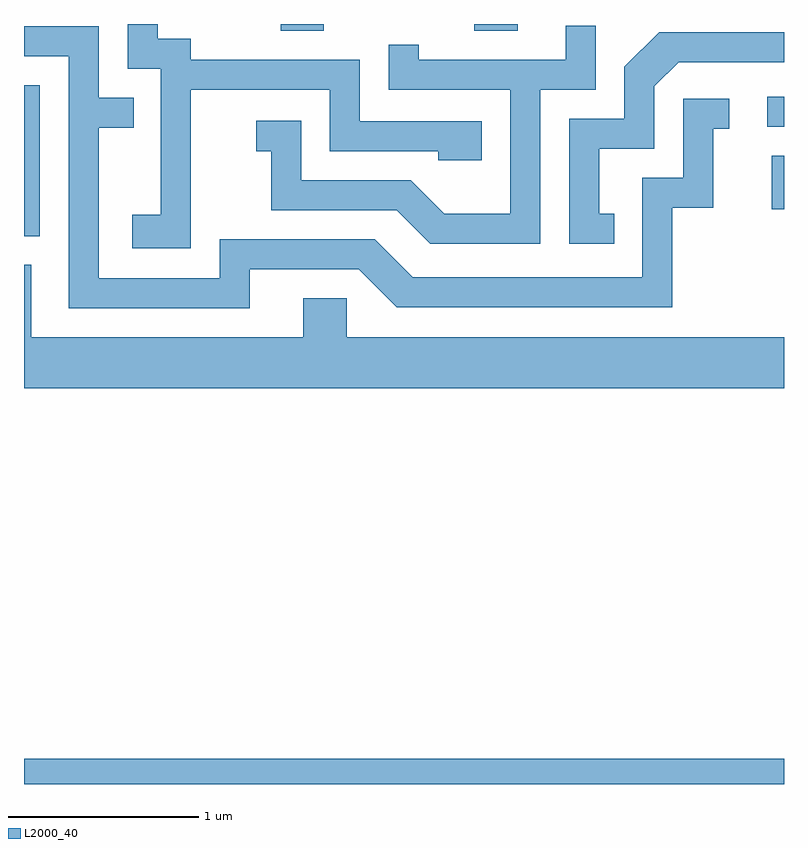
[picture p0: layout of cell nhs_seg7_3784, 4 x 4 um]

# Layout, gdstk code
import gdstk
lib = gdstk.Library(unit=1e-6, precision=1e-09)
def R(c, l, rs):  # rectangles x0, y0, x1, y1
    for r in rs: c.add(gdstk.rectangle(r[:2], r[2:], *l))
def P(c, l, *ps):  # polygons
    for p in ps: c.add(gdstk.Polygon(p, *l))
L2000_40 = (2000, 40)

nhs_seg7_3784 = lib.new_cell('nhs_seg7_3784')
R(nhs_seg7_3784, L2000_40, [(301.611,1692.252,305.611,1692.384), (301.611,1695.136,301.694,1695.929), (305.546,1695.276,305.611,1695.559), (305.523,1695.711,305.611,1695.869), (302.961,1696.216,303.189,1696.252), (303.981,1696.216,304.209,1696.252)])
P(nhs_seg7_3784, L2000_40, [(302.489,1695.906),(303.221,1695.906),(303.221,1695.581),(303.791,1695.581),(303.791,1695.536),(304.019,1695.536),(304.019,1695.739),(303.379,1695.739),(303.379,1696.064),(302.489,1696.064),(302.489,1696.174),(302.314,1696.174),(302.314,1696.252),(302.156,1696.252),(302.156,1696.016),(302.331,1696.016),(302.331,1695.249),(302.181,1695.249),(302.181,1695.071),(302.489,1695.071)],
  [(304.329,1695.906),(304.619,1695.906),(304.619,1696.243),(304.461,1696.243),(304.461,1696.064),(303.689,1696.064),(303.689,1696.143),(303.531,1696.143),(303.531,1695.906),(304.171,1695.906),(304.171,1695.254),(303.822,1695.254),(303.647,1695.429),(303.069,1695.429),(303.069,1695.744),(302.833,1695.744),(302.833,1695.581),(302.911,1695.581),(302.911,1695.271),(303.574,1695.271),(303.749,1695.096),(304.329,1695.096)],
  [(302.799,1694.961),(303.374,1694.961),(303.574,1694.761),(305.024,1694.761),(305.024,1695.286),(305.239,1695.286),(305.239,1695.701),(305.323,1695.701),(305.323,1695.859),(305.081,1695.859),(305.081,1695.444),(304.866,1695.444),(304.866,1694.919),(303.657,1694.919),(303.457,1695.119),(302.641,1695.119),(302.641,1694.914),(302.004,1694.914),(302.004,1695.706),(302.188,1695.706),(302.188,1695.864),(302.004,1695.864),(302.004,1696.239),(301.611,1696.239),(301.611,1696.081),(301.846,1696.081),(301.846,1694.756),(302.799,1694.756)],
  [(304.718,1695.254),(304.639,1695.254),(304.639,1695.596),(304.929,1695.596),(304.929,1695.924),(305.057,1696.051),(305.611,1696.051),(305.611,1696.209),(304.954,1696.209),(304.771,1696.027),(304.771,1695.754),(304.481,1695.754),(304.481,1695.096),(304.718,1695.096)],
  [(305.611,1694.604),(303.309,1694.604),(303.309,1694.809),(303.081,1694.809),(303.081,1694.604),(301.649,1694.604),(301.649,1694.984),(301.611,1694.984),(301.611,1694.336),(305.611,1694.336)])

lib.write_gds('nhs_seg7_3784.gds')
